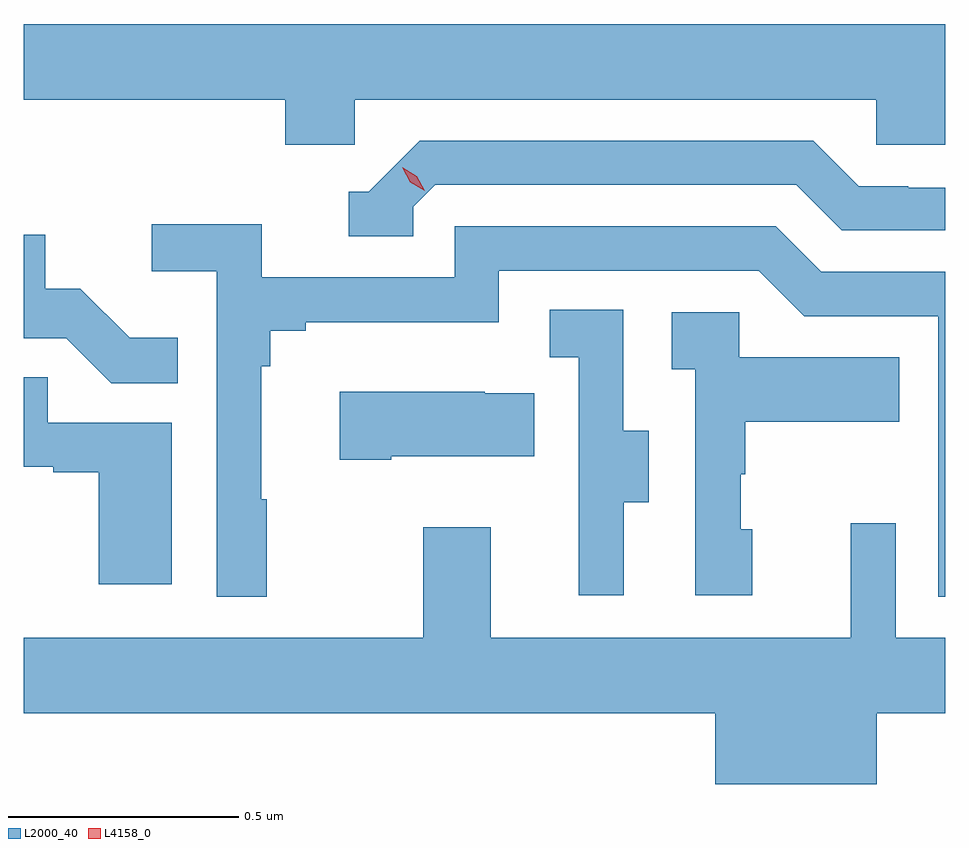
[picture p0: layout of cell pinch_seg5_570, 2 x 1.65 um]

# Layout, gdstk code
import gdstk
lib = gdstk.Library(unit=1e-6, precision=1e-09)
def P(c, l, *ps):  # polygons
    for p in ps: c.add(gdstk.Polygon(p, *l))
L2000_40 = (2000, 40)
L4158_0 = (4158, 0)

pinch_seg5_570 = lib.new_cell('pinch_seg5_570')
P(pinch_seg5_570, L2000_40, [(1002.618,836.78),(1003.749,836.78),(1003.749,836.682),(1003.899,836.682),(1003.899,836.944),(1001.899,836.944),(1001.899,836.78),(1002.467,836.78),(1002.467,836.682),(1002.618,836.682)],
  [(1002.744,836.547),(1002.792,836.595),(1003.575,836.595),(1003.674,836.496),(1003.899,836.496),(1003.899,836.589),(1003.818,836.589),(1003.818,836.592),(1003.711,836.592),(1003.612,836.691),(1002.759,836.691),(1002.648,836.58),(1002.605,836.58),(1002.605,836.484),(1002.744,836.484)],
  [(1002.427,835.913),(1002.415,835.913),(1002.415,836.201),(1002.434,836.201),(1002.434,836.278),(1002.511,836.278),(1002.511,836.297),(1002.93,836.297),(1002.93,836.409),(1003.494,836.409),(1003.593,836.31),(1003.884,836.31),(1003.884,835.701),(1003.899,835.701),(1003.899,836.406),(1003.63,836.406),(1003.531,836.505),(1002.834,836.505),(1002.834,836.394),(1002.416,836.394),(1002.416,836.51),(1002.177,836.51),(1002.177,836.408),(1002.318,836.408),(1002.318,835.701),(1002.427,835.701)],
  [(1002.233,836.263),(1002.129,836.263),(1002.022,836.37),(1001.946,836.37),(1001.946,836.487),(1001.899,836.487),(1001.899,836.262),(1001.991,836.262),(1002.089,836.164),(1002.233,836.164)],
  [(1003.201,835.906),(1003.255,835.906),(1003.255,836.061),(1003.2,836.061),(1003.2,836.324),(1003.041,836.324),(1003.041,836.221),(1003.104,836.221),(1003.104,835.917),(1003.103,835.917),(1003.103,835.704),(1003.201,835.704)],
  [(1003.48,835.848),(1003.455,835.848),(1003.455,835.967),(1003.465,835.967),(1003.465,836.081),(1003.799,836.081),(1003.799,836.221),(1003.452,836.221),(1003.452,836.319),(1003.305,836.319),(1003.305,836.195),(1003.356,836.195),(1003.356,835.704),(1003.48,835.704)],
  [(1002.22,836.079),(1001.951,836.079),(1001.951,836.177),(1001.899,836.177),(1001.899,835.983),(1001.963,835.983),(1001.963,835.971),(1002.062,835.971),(1002.062,835.728),(1002.22,835.728)],
  [(1002.697,836.006),(1003.007,836.006),(1003.007,836.143),(1002.899,836.143),(1002.899,836.146),(1002.585,836.146),(1002.585,835.999),(1002.697,835.999)],
  [(1003.75,835.448),(1003.899,835.448),(1003.899,835.612),(1003.791,835.612),(1003.791,835.861),(1003.694,835.861),(1003.694,835.612),(1002.913,835.612),(1002.913,835.852),(1002.766,835.852),(1002.766,835.612),(1001.899,835.612),(1001.899,835.448),(1003.4,835.448),(1003.4,835.295),(1003.75,835.295)])
P(pinch_seg5_570, L4158_0, [(1002.769,836.582),(1002.738,836.601),(1002.721,836.633),(1002.721,836.633),(1002.721,836.633),(1002.752,836.614),(1002.769,836.582),(1002.769,836.582)])

lib.write_gds('pinch_seg5_570.gds')
